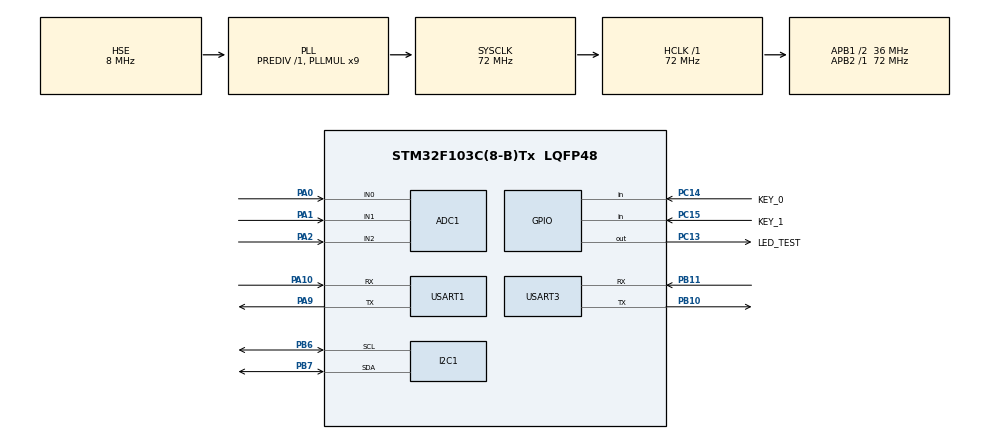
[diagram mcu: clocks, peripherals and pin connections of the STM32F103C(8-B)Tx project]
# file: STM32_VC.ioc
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ADC1.Channel-10\#ChannelRegularConversion=ADC_CHANNEL_1
ADC1.Channel-11\#ChannelRegularConversion=ADC_CHANNEL_2
ADC1.Channel-9\#ChannelRegularConversion=ADC_CHANNEL_0
ADC1.EnableRegularConversion=ENABLE
ADC1.NbrOfConversion=3
ADC1.NbrOfConversionFlag=1
ADC1.Rank-10\#ChannelRegularConversion=2
ADC1.Rank-11\#ChannelRegularConversion=3
ADC1.Rank-9\#ChannelRegularConversion=1
ADC1.SamplingTime-10\#ChannelRegularConversion=ADC_SAMPLETIME_28CYCLES_5
ADC1.SamplingTime-11\#ChannelRegularConversion=ADC_SAMPLETIME_28CYCLES_5
ADC1.SamplingTime-9\#ChannelRegularConversion=ADC_SAMPLETIME_28CYCLES_5
ADC1.master=1
Dma.ADC1.0.Direction=DMA_PERIPH_TO_MEMORY
Dma.ADC1.0.Instance=DMA1_Channel1
Dma.ADC1.0.MemDataAlignment=DMA_MDATAALIGN_HALFWORD
Dma.ADC1.0.MemInc=DMA_MINC_ENABLE
Dma.ADC1.0.Mode=DMA_CIRCULAR
Dma.ADC1.0.PeriphDataAlignment=DMA_PDATAALIGN_HALFWORD
Dma.ADC1.0.PeriphInc=DMA_PINC_DISABLE
Dma.ADC1.0.Priority=DMA_PRIORITY_LOW
Dma.Request0=ADC1
I2C1.I2C_Mode=I2C_Fast
Mcu.Family=STM32F1
Mcu.Name=STM32F103C(8-B)Tx
Mcu.Package=LQFP48
NVIC.DMA1_Channel1_IRQn=true\:0\:0\:false\:false\:true\:false\:true
NVIC.PriorityGroup=NVIC_PRIORITYGROUP_4
NVIC.TIM2_IRQn=true\:0\:0\:false\:false\:true\:true\:true
NVIC.USART1_IRQn=true\:0\:0\:false\:false\:true\:true\:true
PA0-WKUP.Signal=ADCx_IN0
PA1.Signal=ADCx_IN1
PA10.Mode=Asynchronous
PA10.Signal=USART1_RX
PA13.Mode=Serial_Wire
PA13.Signal=SYS_JTMS-SWDIO
PA14.Mode=Serial_Wire
PA14.Signal=SYS_JTCK-SWCLK
PA2.Signal=ADCx_IN2
PA9.Mode=Asynchronous
PA9.Signal=USART1_TX
PB10.Mode=Asynchronous
PB10.Signal=USART3_TX
PB11.Mode=Asynchronous
PB11.Signal=USART3_RX
PB6.Mode=I2C
PB6.Signal=I2C1_SCL
PB7.Mode=I2C
PB7.Signal=I2C1_SDA
PC13-TAMPER-RTC.GPIO_Label=LED_TEST
PC13-TAMPER-RTC.GPIO_PuPd=GPIO_PULLUP
PC13-TAMPER-RTC.Signal=GPIO_Output
PC14-OSC32_IN.GPIO_Label=KEY_0
PC14-OSC32_IN.GPIO_PuPd=GPIO_PULLUP
PC14-OSC32_IN.Signal=GPIO_Input
PC15-OSC32_OUT.GPIO_Label=KEY_1
PC15-OSC32_OUT.GPIO_PuPd=GPIO_PULLUP
PC15-OSC32_OUT.Signal=GPIO_Input
PD0-OSC_IN.Mode=HSE-External-Oscillator
PD0-OSC_IN.Signal=RCC_OSC_IN
PD1-OSC_OUT.Mode=HSE-External-Oscillator
PD1-OSC_OUT.Signal=RCC_OSC_OUT
ProjectManager.HeapSize=0x200
ProjectManager.StackSize=0x400
ProjectManager.TargetToolchain=STM32CubeIDE
RCC.ADCPresc=RCC_ADCPCLK2_DIV6
RCC.AHBFreq_Value=72000000
RCC.APB1CLKDivider=RCC_HCLK_DIV2
RCC.APB1Freq_Value=36000000
RCC.APB1TimFreq_Value=72000000
RCC.APB2Freq_Value=72000000
RCC.APB2TimFreq_Value=72000000
RCC.HCLKFreq_Value=72000000
RCC.PLLMUL=RCC_PLL_MUL9
RCC.PLLSourceVirtual=RCC_PLLSOURCE_HSE
RCC.SYSCLKFreq_VALUE=72000000
RCC.SYSCLKSource=RCC_SYSCLKSOURCE_PLLCLK
RCC.USBFreq_Value=72000000
SH.ADCx_IN0.0=ADC1_IN0,IN0
SH.ADCx_IN1.0=ADC1_IN1,IN1
SH.ADCx_IN2.0=ADC1_IN2,IN2
TIM2.Period=1000-1
TIM2.Prescaler=72-1
USART1.VirtualMode=VM_ASYNC
USART3.VirtualMode=VM_ASYNC
VP_TIM2_VS_ClockSourceINT.Mode=Internal
board=custom

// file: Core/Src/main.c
/* USER CODE BEGIN Header */
/**
  ******************************************************************************
  * @file           : main.c
  * @brief          : Main program body
  ******************************************************************************
  * @attention
  *
  * <h2><center>&copy; Copyright (c) 2021 STMicroelectronics.
  * All rights reserved.</center></h2>
  *
  * This software component is licensed by ST under BSD 3-Clause license,
  * the "License"; You may not use this file except in compliance with the
  * License. You may obtain a copy of the License at:
  *                        opensource.org/licenses/BSD-3-Clause
  *
  ******************************************************************************
  */
/* USER CODE END Header */
#include "main.h"

/* USER CODE BEGIN Includes */
#ifdef MASTER
uint8_t mode_flag;
uint8_t send_flag;

float ID1_C;
float ID1_V;

float ID2_C;
float ID2_V;

void Master_Send_Buf(char id){
	uint8_t send_buf[3]={0xff,0xff,id};
	 HAL_UART_Transmit(&huart1,&send_buf[0],3,10);
}

#endif
/* USER CODE END Includes */

ADC_HandleTypeDef hadc1;
DMA_HandleTypeDef hdma_adc1;

I2C_HandleTypeDef hi2c1;

TIM_HandleTypeDef htim2;

UART_HandleTypeDef huart1;
UART_HandleTypeDef huart3;

void SystemClock_Config(void);
static void MX_GPIO_Init(void);
static void MX_DMA_Init(void);
static void MX_ADC1_Init(void);
static void MX_USART1_UART_Init(void);
static void MX_TIM2_Init(void);
static void MX_I2C1_Init(void);
static void MX_USART3_UART_Init(void);

int main(void)
{
  /* USER CODE BEGIN 1 */
#ifdef MASTER
	char temp_buf_main[30];
#endif
  /* USER CODE END 1 */

  /* MCU Configuration--------------------------------------------------------*/

  /* Reset of all peripherals, Initializes the Flash interface and the Systick. */
  HAL_Init();

  /* Configure the system clock */
  SystemClock_Config();

  /* Initialize all configured peripherals */
  MX_GPIO_Init();
  MX_DMA_Init();
  MX_ADC1_Init();
  MX_USART1_UART_Init();
  MX_TIM2_Init();
  MX_I2C1_Init();
  MX_USART3_UART_Init();
  /* USER CODE BEGIN 2 */

  Start_Peripheral();
  /* USER CODE END 2 */

  /* Infinite loop */
  /* USER CODE BEGIN WHILE */
  while (1)
  {
#ifdef SLAVE
	  if(CompareTime(&Task_5)){
		  GetTime(&Task_5);
		  GET_CH_Vlaue();
	  }

	  if(CompareTime(&Task_50)){
		  GetTime(&Task_50);
	  }

	  if(CompareTime(&Task_100)){
		  GetTime(&Task_100);
		  HAL_GPIO_TogglePin(LED_TEST_GPIO_Port, LED_TEST_Pin);
		  //HAL_UART_Transmit_Str(&huart1,(uint8_t*)"usart_ok");
	  }

	  if(CompareTime(&Task_1000)){
		  GetTime(&Task_1000);
		  User_Display_Function_SLAVE();
	  }
#endif
#ifdef MASTER

	  if(CompareTime(&Task_5)){
		  GetTime(&Task_5);
		 // GET_CH_Vlaue();
	  }

	  if(CompareTime(&Task_50)){
		  GetTime(&Task_50);
	  }

	  if(CompareTime(&Task_100)){
		  GetTime(&Task_100);
		  Key_Processing_MASTER();
		  HAL_GPIO_TogglePin(LED_TEST_GPIO_Port, LED_TEST_Pin);
		  //HAL_UART_Transmit_Str(&huart1,(uint8_t*)"usart_ok");

	  }

	  if(CompareTime(&Task_1000)){
		  GetTime(&Task_1000);
		  if(send_flag){
			  //huart3接PC端上位机监控数据
			  sprintf((char*)temp_buf_main,"ID1_V:%.3fV/r/n",ID1_V);
			  HAL_UART_Transmit_Str(&huart3,(uint8_t*)temp_buf_main);

			  sprintf((char*)temp_buf_main,"ID1_C:%.3fmA/r/n",ID1_C);
			  HAL_UART_Transmit_Str(&huart3,(uint8_t*)temp_buf_main);

			  sprintf((char*)temp_buf_main,"ID2_V:%.3fV/r/n",ID2_V);
			  HAL_UART_Transmit_Str(&huart3,(uint8_t*)temp_buf_main);

			  sprintf((char*)temp_buf_main,"ID2_C:%.3fmA/r/n",ID2_C);
			  HAL_UART_Transmit_Str(&huart3,(uint8_t*)temp_buf_main);
		  }
		  //向从机发送数据，从机返回数据
		  Master_Send_Buf(1);
		  HAL_Delay(10);
		  Master_Send_Buf(2);

		 User_Display_Function_MASTER(mode_flag);
	  }

	  #endif

    /* USER CODE END WHILE */

  }
}

void SystemClock_Config(void)
{
  RCC_OscInitTypeDef RCC_OscInitStruct = {0};
  RCC_ClkInitTypeDef RCC_ClkInitStruct = {0};
  RCC_PeriphCLKInitTypeDef PeriphClkInit = {0};

  /** Initializes the RCC Oscillators according to the specified parameters
  * in the RCC_OscInitTypeDef structure.
  */
  RCC_OscInitStruct.OscillatorType = RCC_OSCILLATORTYPE_HSE;
  RCC_OscInitStruct.HSEState = RCC_HSE_ON;
  RCC_OscInitStruct.HSEPredivValue = RCC_HSE_PREDIV_DIV1;
  RCC_OscInitStruct.HSIState = RCC_HSI_ON;
  RCC_OscInitStruct.PLL.PLLState = RCC_PLL_ON;
  RCC_OscInitStruct.PLL.PLLSource = RCC_PLLSOURCE_HSE;
  RCC_OscInitStruct.PLL.PLLMUL = RCC_PLL_MUL9;
  if (HAL_RCC_OscConfig(&RCC_OscInitStruct) != HAL_OK)
  {
    Error_Handler();
  }
  /** Initializes the CPU, AHB and APB buses clocks
  */
  RCC_ClkInitStruct.ClockType = RCC_CLOCKTYPE_HCLK|RCC_CLOCKTYPE_SYSCLK
                              |RCC_CLOCKTYPE_PCLK1|RCC_CLOCKTYPE_PCLK2;
  RCC_ClkInitStruct.SYSCLKSource = RCC_SYSCLKSOURCE_PLLCLK;
  RCC_ClkInitStruct.AHBCLKDivider = RCC_SYSCLK_DIV1;
  RCC_ClkInitStruct.APB1CLKDivider = RCC_HCLK_DIV2;
  RCC_ClkInitStruct.APB2CLKDivider = RCC_HCLK_DIV1;

  if (HAL_RCC_ClockConfig(&RCC_ClkInitStruct, FLASH_LATENCY_2) != HAL_OK)
  {
    Error_Handler();
  }
  PeriphClkInit.PeriphClockSelection = RCC_PERIPHCLK_ADC;
  PeriphClkInit.AdcClockSelection = RCC_ADCPCLK2_DIV6;
  if (HAL_RCCEx_PeriphCLKConfig(&PeriphClkInit) != HAL_OK)
  {
    Error_Handler();
  }
}

static void MX_ADC1_Init(void)
{

  ADC_ChannelConfTypeDef sConfig = {0};

  /** Common config
  */
  hadc1.Instance = ADC1;
  hadc1.Init.ScanConvMode = ADC_SCAN_ENABLE;
  hadc1.Init.ContinuousConvMode = DISABLE;
  hadc1.Init.DiscontinuousConvMode = DISABLE;
  hadc1.Init.ExternalTrigConv = ADC_SOFTWARE_START;
  hadc1.Init.DataAlign = ADC_DATAALIGN_RIGHT;
  hadc1.Init.NbrOfConversion = 3;
  if (HAL_ADC_Init(&hadc1) != HAL_OK)
  {
    Error_Handler();
  }
  /** Configure Regular Channel
  */
  sConfig.Channel = ADC_CHANNEL_0;
  sConfig.Rank = ADC_REGULAR_RANK_1;
  sConfig.SamplingTime = ADC_SAMPLETIME_28CYCLES_5;
  if (HAL_ADC_ConfigChannel(&hadc1, &sConfig) != HAL_OK)
  {
    Error_Handler();
  }
  /** Configure Regular Channel
  */
  sConfig.Channel = ADC_CHANNEL_1;
  sConfig.Rank = ADC_REGULAR_RANK_2;
  if (HAL_ADC_ConfigChannel(&hadc1, &sConfig) != HAL_OK)
  {
    Error_Handler();
  }
  /** Configure Regular Channel
  */
  sConfig.Channel = ADC_CHANNEL_2;
  sConfig.Rank = ADC_REGULAR_RANK_3;
  if (HAL_ADC_ConfigChannel(&hadc1, &sConfig) != HAL_OK)
  {
    Error_Handler();
  }

}

static void MX_I2C1_Init(void)
{

  hi2c1.Instance = I2C1;
  hi2c1.Init.ClockSpeed = 400000;
  hi2c1.Init.DutyCycle = I2C_DUTYCYCLE_2;
  hi2c1.Init.OwnAddress1 = 0;
  hi2c1.Init.AddressingMode = I2C_ADDRESSINGMODE_7BIT;
  hi2c1.Init.DualAddressMode = I2C_DUALADDRESS_DISABLE;
  hi2c1.Init.OwnAddress2 = 0;
  hi2c1.Init.GeneralCallMode = I2C_GENERALCALL_DISABLE;
  hi2c1.Init.NoStretchMode = I2C_NOSTRETCH_DISABLE;
  if (HAL_I2C_Init(&hi2c1) != HAL_OK)
  {
    Error_Handler();
  }

}

static void MX_TIM2_Init(void)
{

  TIM_ClockConfigTypeDef sClockSourceConfig = {0};
  TIM_MasterConfigTypeDef sMasterConfig = {0};

  htim2.Instance = TIM2;
  htim2.Init.Prescaler = 72-1;
  htim2.Init.CounterMode = TIM_COUNTERMODE_UP;
  htim2.Init.Period = 1000-1;
  htim2.Init.ClockDivision = TIM_CLOCKDIVISION_DIV1;
  htim2.Init.AutoReloadPreload = TIM_AUTORELOAD_PRELOAD_DISABLE;
  if (HAL_TIM_Base_Init(&htim2) != HAL_OK)
  {
    Error_Handler();
  }
  sClockSourceConfig.ClockSource = TIM_CLOCKSOURCE_INTERNAL;
  if (HAL_TIM_ConfigClockSource(&htim2, &sClockSourceConfig) != HAL_OK)
  {
    Error_Handler();
  }
  sMasterConfig.MasterOutputTrigger = TIM_TRGO_RESET;
  sMasterConfig.MasterSlaveMode = TIM_MASTERSLAVEMODE_DISABLE;
  if (HAL_TIMEx_MasterConfigSynchronization(&htim2, &sMasterConfig) != HAL_OK)
  {
    Error_Handler();
  }

}

static void MX_USART1_UART_Init(void)
{

  huart1.Instance = USART1;
  huart1.Init.BaudRate = 115200;
  huart1.Init.WordLength = UART_WORDLENGTH_8B;
  huart1.Init.StopBits = UART_STOPBITS_1;
  huart1.Init.Parity = UART_PARITY_NONE;
  huart1.Init.Mode = UART_MODE_TX_RX;
  huart1.Init.HwFlowCtl = UART_HWCONTROL_NONE;
  huart1.Init.OverSampling = UART_OVERSAMPLING_16;
  if (HAL_UART_Init(&huart1) != HAL_OK)
  {
    Error_Handler();
  }

}

static void MX_USART3_UART_Init(void)
{

  huart3.Instance = USART3;
  huart3.Init.BaudRate = 115200;
  huart3.Init.WordLength = UART_WORDLENGTH_8B;
  huart3.Init.StopBits = UART_STOPBITS_1;
  huart3.Init.Parity = UART_PARITY_NONE;
  huart3.Init.Mode = UART_MODE_TX_RX;
  huart3.Init.HwFlowCtl = UART_HWCONTROL_NONE;
  huart3.Init.OverSampling = UART_OVERSAMPLING_16;
  if (HAL_UART_Init(&huart3) != HAL_OK)
  {
    Error_Handler();
  }

}

static void MX_DMA_Init(void)
{

  /* DMA controller clock enable */
  __HAL_RCC_DMA1_CLK_ENABLE();

  /* DMA interrupt init */
  /* DMA1_Channel1_IRQn interrupt configuration */
  HAL_NVIC_SetPriority(DMA1_Channel1_IRQn, 0, 0);
  HAL_NVIC_EnableIRQ(DMA1_Channel1_IRQn);

}

static void MX_GPIO_Init(void)
{
  GPIO_InitTypeDef GPIO_InitStruct = {0};

  /* GPIO Ports Clock Enable */
  __HAL_RCC_GPIOC_CLK_ENABLE();
  __HAL_RCC_GPIOD_CLK_ENABLE();
  __HAL_RCC_GPIOA_CLK_ENABLE();
  __HAL_RCC_GPIOB_CLK_ENABLE();

  /*Configure GPIO pin Output Level */
  HAL_GPIO_WritePin(LED_TEST_GPIO_Port, LED_TEST_Pin, GPIO_PIN_RESET);

  /*Configure GPIO pin : LED_TEST_Pin */
  GPIO_InitStruct.Pin = LED_TEST_Pin;
  GPIO_InitStruct.Mode = GPIO_MODE_OUTPUT_PP;
  GPIO_InitStruct.Pull = GPIO_PULLUP;
  GPIO_InitStruct.Speed = GPIO_SPEED_FREQ_LOW;
  HAL_GPIO_Init(LED_TEST_GPIO_Port, &GPIO_InitStruct);

  /*Configure GPIO pins : KEY_0_Pin KEY_1_Pin */
  GPIO_InitStruct.Pin = KEY_0_Pin|KEY_1_Pin;
  GPIO_InitStruct.Mode = GPIO_MODE_INPUT;
  GPIO_InitStruct.Pull = GPIO_PULLUP;
  HAL_GPIO_Init(GPIOC, &GPIO_InitStruct);

}

void Error_Handler(void)
{
  __disable_irq();
  while (1)
  {
  }
}

/************************ (C) COPYRIGHT STMicroelectronics *****END OF FILE****/
